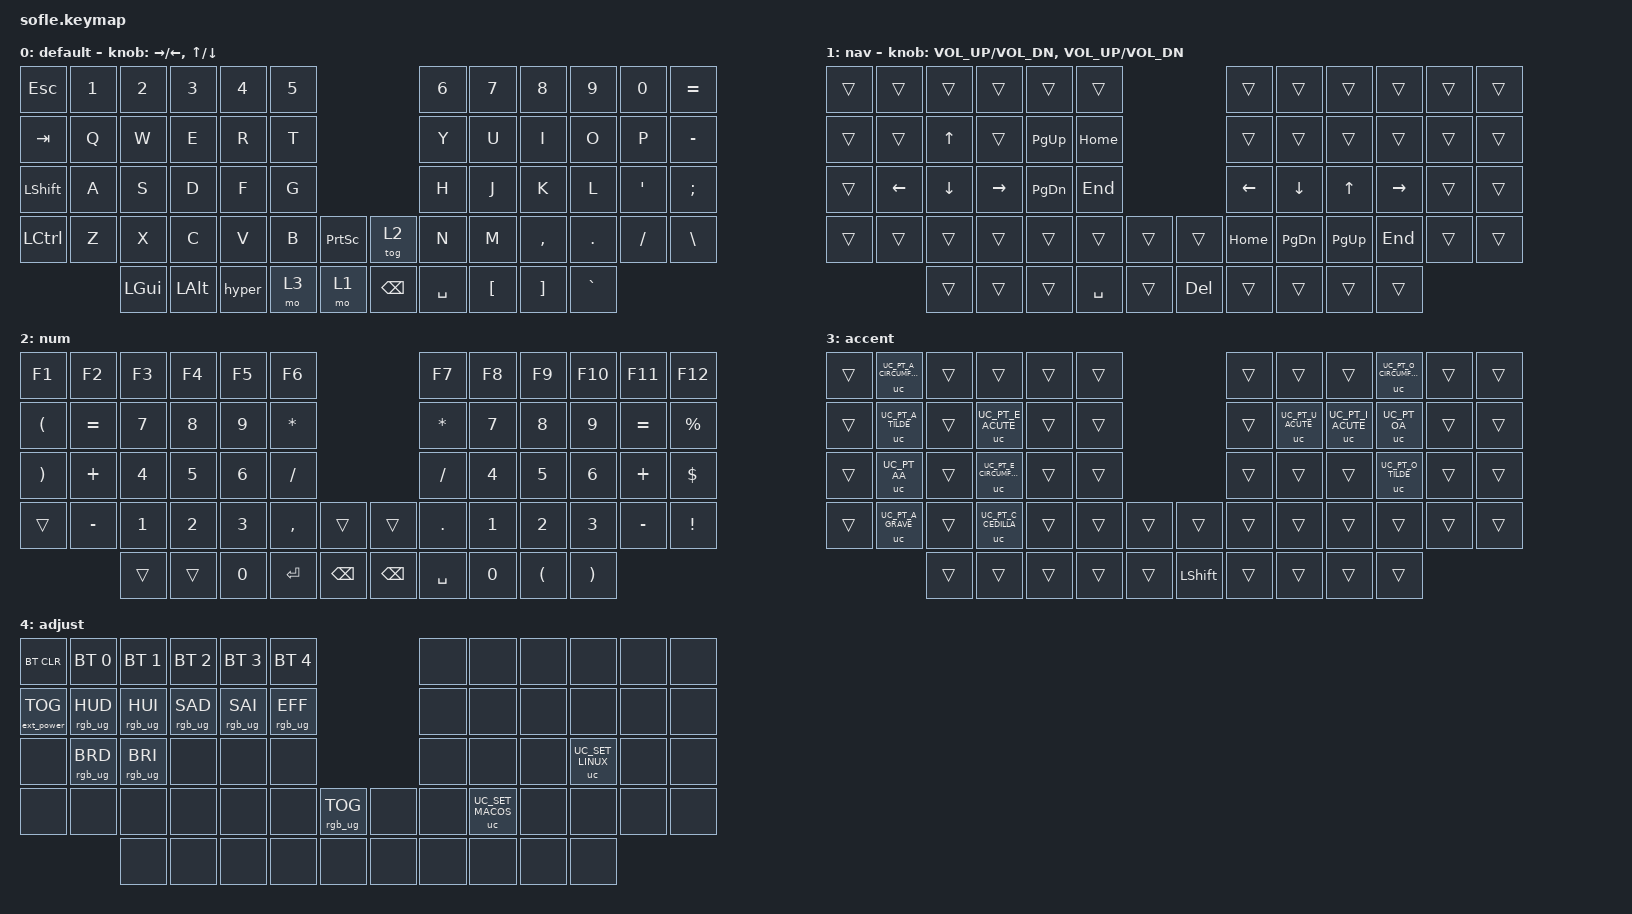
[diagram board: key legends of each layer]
/*
 * Copyright (c) 2020 The ZMK Contributors
 *
 * SPDX-License-Identifier: MIT
 */
// Import Unicode behavior

#include <behaviors/unicode.dtsi>
#include <behaviors.dtsi>
#include <dt-bindings/zmk/bt.h>
#include <dt-bindings/zmk/ext_power.h>
#include <dt-bindings/zmk/keys.h>
#include <dt-bindings/zmk/rgb.h>

// Configure Unicode behavior for Linux

&uc {
    default-mode = <UC_MODE_LINUX>;  // Use Linux IBus mode
    linux-key = <LC(LS(U))>;         // Ctrl+Shift+U (default, but explicit)
    minimum-length = <4>;  // Force 4-digit padding
};


#define UC_PT_O_TILDE   0xf5 0xd5  // õ/Õ
#define UC_PT_A_GRAVE       0xe0  0xc0  // à/À
#define UC_PT_A_CIRCUMFLEX  0xe2  0xc2  // â/Â
#define UC_PT_C_CEDILLA     0xe7  0xc7  // ç/Ç
#define UC_PT_E_GRAVE       0xe8  0xc8  // è/È
#define UC_PT_E_ACUTE       0xe9  0xc9  // é/É
#define UC_PT_E_CIRCUMFLEX  0xea  0xca  // ê/Ê
#define UC_PT_O_CIRCUMFLEX  0xf4  0xd4  // ô/Ô
#define UC_PT_OA            0xf3  0xd3  // ó/Ó
#define UC_PT_U_GRAVE       0xf9  0xd9  // ù/Ù
#define UC_PT_U_CIRCUMFLEX  0xfb  0xdb  // û/Û
#define UC_PT_A_TILDE       0xe3  0xc3  // ã/Ã
#define UC_PT_AA            0xe1  0xc1  // á/Á
#define UC_PT_I_ACUTE   0xed 0xcd  // í/Í
#define UC_PT_U_ACUTE   0xfa 0xda  // ú/Ú


#define BASE 0
#define LOWER 1
#define RAISE 2
#define ADJUST 3
#define ACCENT 4

/ {
    // Conditional layers

    conditional_layers {
        compatible = "zmk,conditional-layers";

        adjust_layer {
            if-layers = <1 3>;
            then-layer = <4>;
        };

        adjust_2 {
            if-layers = <3 1>;
            then-layer = <4>;
        };
    };

    // Macros

    macros {
        // Hyper key

        hyper: hyper {
            compatible = "zmk,behavior-macro";
            #binding-cells = <0>;
            bindings =
                <&macro_press>,
                <&kp LSHFT &kp LCTRL &kp LALT &kp LGUI>,
                <&macro_pause_for_release>,
                <&macro_release>,
                <&kp LSHFT &kp LCTRL &kp LALT &kp LGUI>;

            label = "HYPER";
        };
    };

    // Combos

    combos {
        compatible = "zmk,combos";

        enter_right {
            bindings = <&kp RET>;
            key-positions = <55 56>;
            layers = <0 1>;
            timeout-ms = <75>;
        };

        enter_left {
            bindings = <&kp RET>;
            key-positions = <53 54>;
            layers = <0 1>;
            timeout-ms = <75>;
        };
    };

    keymap {
        compatible = "zmk,keymap";

        default_layer {
            label = "default";
            bindings = <
&kp ESC    &kp N1  &kp N2    &kp N3    &kp N4  &kp N5                               &kp N6     &kp N7            &kp N8             &kp N9     &kp N0            &kp EQUAL
&kp TAB    &kp Q   &kp W     &kp E     &kp R   &kp T                                &kp Y      &kp U             &kp I              &kp O      &kp P             &kp MINUS
&kp LSHFT  &kp A   &kp S     &kp D     &kp F   &kp G                                &kp H      &kp J             &kp K              &kp L      &kp SINGLE_QUOTE  &kp SEMI
&kp LCTRL  &kp Z   &kp X     &kp C     &kp V   &kp B   &kp PRINTSCREEN    &tog 2    &kp N      &kp M             &kp COMMA          &kp DOT    &kp FSLH          &kp BSLH
                   &kp LGUI  &kp LALT  &hyper  &mo 3   &mo 1              &kp BSPC  &kp SPACE  &kp LEFT_BRACKET  &kp RIGHT_BRACKET  &kp GRAVE
            >;

            sensor-bindings = <&inc_dec_kp RIGHT LEFT>, <&inc_dec_kp UP DOWN>;
        };

        Nav {
            label = "nav";
            bindings = <
&trans  &trans    &trans    &trans     &trans     &trans                        &trans    &trans         &trans     &trans     &trans  &trans
&trans  &trans    &kp UP    &trans     &kp PG_UP  &kp HOME                      &trans    &trans         &trans     &trans     &trans  &trans
&trans  &kp LEFT  &kp DOWN  &kp RIGHT  &kp PG_DN  &kp END                       &kp LEFT  &kp DOWN       &kp UP     &kp RIGHT  &trans  &trans
&trans  &trans    &trans    &trans     &trans     &trans     &trans    &trans   &kp HOME  &kp PAGE_DOWN  &kp PG_UP  &kp END    &trans  &trans
                  &trans    &trans     &trans     &kp SPACE  &trans    &kp DEL  &trans    &trans         &trans     &trans
            >;

            sensor-bindings =
                <&inc_dec_kp C_VOL_UP C_VOL_DN>,
                <&inc_dec_kp C_VOLUME_UP C_VOL_DN>;
        };

        Num {
            bindings = <
&kp F1                 &kp F2     &kp F3  &kp F4  &kp F5  &kp F6                                   &kp F7        &kp F8  &kp F9                &kp F10                &kp F11    &kp F12
&kp LEFT_PARENTHESIS   &kp EQUAL  &kp N7  &kp N8  &kp N9  &kp ASTERISK                             &kp ASTERISK  &kp N7  &kp N8                &kp N9                 &kp EQUAL  &kp PERCENT
&kp RIGHT_PARENTHESIS  &kp PLUS   &kp N4  &kp N5  &kp N6  &kp SLASH                                &kp FSLH      &kp N4  &kp N5                &kp N6                 &kp PLUS   &kp DOLLAR
&trans                 &kp MINUS  &kp N1  &kp N2  &kp N3  &kp COMMA     &trans           &trans    &kp DOT       &kp N1  &kp N2                &kp N3                 &kp MINUS  &kp EXCL
                                  &trans  &trans  &kp N0  &kp ENTER     &kp BACKSPACE    &kp BSPC  &kp SPACE     &kp N0  &kp LEFT_PARENTHESIS  &kp RIGHT_PARENTHESIS
            >;

            label = "num";
        };
        accent_layer {
            label = "accent";
            bindings = <
        &trans  &uc UC_PT_A_CIRCUMFLEX  &trans  &trans         &trans  &trans                            &trans  &trans         &trans         &uc UC_PT_O_CIRCUMFLEX  &trans  &trans
        &trans  &uc UC_PT_A_TILDE       &trans  &uc UC_PT_E_ACUTE  &trans  &trans                            &trans  &uc UC_PT_U_ACUTE  &uc UC_PT_I_ACUTE  &uc UC_PT_OA          &trans  &trans
        &trans  &uc UC_PT_AA            &trans  &uc UC_PT_E_CIRCUMFLEX  &trans  &trans                            &trans  &trans         &trans         &uc UC_PT_O_TILDE      &trans  &trans
        &trans  &uc UC_PT_A_GRAVE       &trans  &uc UC_PT_C_CEDILLA    &trans  &trans  &trans    &trans          &trans  &trans         &trans         &trans               &trans  &trans
                            &trans  &trans         &trans  &trans  &trans    &kp LEFT_SHIFT  &trans  &trans         &trans         &trans
            >;
        };

        adjust_layer {
            label = "adjust";
            bindings = <
&bt BT_CLR         &bt BT_SEL 0     &bt BT_SEL 1     &bt BT_SEL 2     &bt BT_SEL 3     &bt BT_SEL 4                               &none  &none             &none  &none             &none  &none
&ext_power EP_TOG  &rgb_ug RGB_HUD  &rgb_ug RGB_HUI  &rgb_ug RGB_SAD  &rgb_ug RGB_SAI  &rgb_ug RGB_EFF                            &none  &none             &none  &none             &none  &none
&none              &rgb_ug RGB_BRD  &rgb_ug RGB_BRI  &none            &none            &none                                      &none  &none             &none  &uc UC_SET_LINUX  &none  &none
&none              &none            &none            &none            &none            &none            &rgb_ug RGB_TOG    &none  &none  &uc UC_SET_MACOS  &none  &none             &none  &none
                                    &none            &none            &none            &none            &none              &none  &none  &none             &none  &none
            >;
        };
    };
};
